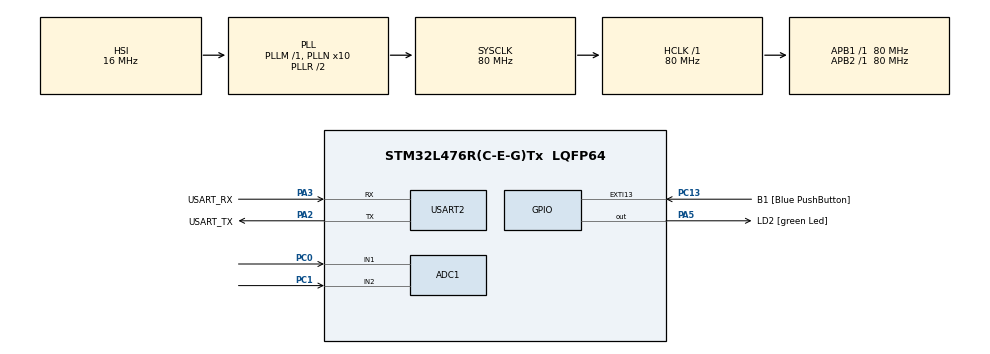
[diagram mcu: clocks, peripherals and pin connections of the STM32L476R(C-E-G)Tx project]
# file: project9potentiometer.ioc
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ADC1.Channel-0\#ChannelRegularConversion=ADC_CHANNEL_1
ADC1.Channel-1\#ChannelRegularConversion=ADC_CHANNEL_2
ADC1.ContinuousConvMode=DISABLE
ADC1.NbrOfConversion=2
ADC1.NbrOfConversionFlag=1
ADC1.OffsetNumber-0\#ChannelRegularConversion=ADC_OFFSET_NONE
ADC1.OffsetNumber-1\#ChannelRegularConversion=ADC_OFFSET_NONE
ADC1.Overrun=ADC_OVR_DATA_OVERWRITTEN
ADC1.Rank-0\#ChannelRegularConversion=1
ADC1.Rank-1\#ChannelRegularConversion=2
ADC1.SamplingTime-0\#ChannelRegularConversion=ADC_SAMPLETIME_640CYCLES_5
ADC1.SamplingTime-1\#ChannelRegularConversion=ADC_SAMPLETIME_640CYCLES_5
ADC1.master=1
Mcu.Family=STM32L4
Mcu.Name=STM32L476R(C-E-G)Tx
Mcu.Package=LQFP64
NVIC.PriorityGroup=NVIC_PRIORITYGROUP_4
PA13\ (JTMS-SWDIO).GPIO_Label=TMS
PA13\ (JTMS-SWDIO).Mode=Serial_Wire
PA13\ (JTMS-SWDIO).Signal=SYS_JTMS-SWDIO
PA14\ (JTCK-SWCLK).GPIO_Label=TCK
PA14\ (JTCK-SWCLK).Mode=Serial_Wire
PA14\ (JTCK-SWCLK).Signal=SYS_JTCK-SWCLK
PA2.GPIO_Label=USART_TX
PA2.GPIO_Mode=GPIO_MODE_AF_PP
PA2.GPIO_PuPd=GPIO_NOPULL
PA2.GPIO_Speed=GPIO_SPEED_FREQ_VERY_HIGH
PA2.Mode=Asynchronous
PA2.Signal=USART2_TX
PA3.GPIO_Label=USART_RX
PA3.GPIO_Mode=GPIO_MODE_AF_PP
PA3.GPIO_PuPd=GPIO_NOPULL
PA3.GPIO_Speed=GPIO_SPEED_FREQ_VERY_HIGH
PA3.Mode=Asynchronous
PA3.Signal=USART2_RX
PA5.GPIO_Label=LD2 [green Led]
PA5.GPIO_ModeDefaultOutputPP=GPIO_MODE_OUTPUT_PP
PA5.GPIO_PuPd=GPIO_NOPULL
PA5.GPIO_Speed=GPIO_SPEED_FREQ_LOW
PA5.Signal=GPIO_Output
PB3\ (JTDO-TRACESWO).GPIO_Label=SWO
PB3\ (JTDO-TRACESWO).Signal=SYS_JTDO-SWO
PC0.Signal=ADCx_IN1
PC1.Signal=ADCx_IN2
PC13.GPIO_Label=B1 [Blue PushButton]
PC13.GPIO_ModeDefaultEXTI=GPIO_MODE_IT_FALLING
PC13.GPIO_PuPd=GPIO_NOPULL
PC13.Signal=GPXTI13
PC14-OSC32_IN\ (PC14).Mode=LSE-External-Oscillator
PC14-OSC32_IN\ (PC14).Signal=RCC_OSC32_IN
PC15-OSC32_OUT\ (PC15).Mode=LSE-External-Oscillator
PC15-OSC32_OUT\ (PC15).Signal=RCC_OSC32_OUT
PH0-OSC_IN\ (PH0).Signal=RCC_OSC_IN
PH1-OSC_OUT\ (PH1).Signal=RCC_OSC_OUT
ProjectManager.HeapSize=0x200
ProjectManager.StackSize=0x400
ProjectManager.TargetToolchain=STM32CubeIDE
RCC.ADCFreq_Value=32000000
RCC.AHBFreq_Value=80000000
RCC.APB1Freq_Value=80000000
RCC.APB1TimFreq_Value=80000000
RCC.APB2Freq_Value=80000000
RCC.APB2TimFreq_Value=80000000
RCC.CortexFreq_Value=80000000
RCC.HCLKFreq_Value=80000000
RCC.HSE_VALUE=8000000
RCC.HSI_VALUE=16000000
RCC.MSI_VALUE=4000000
RCC.PLLN=10
RCC.PLLSAI1R=RCC_PLLR_DIV4
RCC.PLLSourceVirtual=RCC_PLLSOURCE_HSI
RCC.PREFETCH_ENABLE=1
RCC.SYSCLKFreq_VALUE=80000000
RCC.SYSCLKSource=RCC_SYSCLKSOURCE_PLLCLK
RCC.USBFreq_Value=64000000
RCC.VCOOutputFreq_Value=160000000
SH.ADCx_IN1.0=ADC1_IN1,IN1-Single-Ended
SH.ADCx_IN2.0=ADC1_IN2,IN2-Single-Ended
USART2.VirtualMode-Asynchronous=VM_ASYNC
board=NUCLEO-L476RG

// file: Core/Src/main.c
/* USER CODE BEGIN Header */
/**
  ******************************************************************************
  * @file           : main.c
  * @brief          : Main program body
  ******************************************************************************
  * @attention
  *
  * Copyright (c) 2024 STMicroelectronics.
  * All rights reserved.
  *
  * This software is licensed under terms that can be found in the LICENSE file
  * in the root directory of this software component.
  * If no LICENSE file comes with this software, it is provided AS-IS.
  *
  ******************************************************************************
  */
/* USER CODE END Header */
#include "main.h"

/* USER CODE BEGIN Includes */
#include <stdio.h>
/* USER CODE END Includes */

ADC_HandleTypeDef hadc1;

UART_HandleTypeDef huart2;

void SystemClock_Config(void);
static void MX_GPIO_Init(void);
static void MX_USART2_UART_Init(void);
static void MX_ADC1_Init(void);

/* USER CODE BEGIN 0 */
int __io_putchar(int ch)
{
  if (ch == '\n') {
    __io_putchar('\r');
  }

  HAL_UART_Transmit(&huart2, (uint8_t*)&ch, 1, HAL_MAX_DELAY);

  return 1;
}

/* USER CODE END 0 */

int main(void)
{

  /* MCU Configuration--------------------------------------------------------*/

  /* Reset of all peripherals, Initializes the Flash interface and the Systick. */
  HAL_Init();

  /* Configure the system clock */
  SystemClock_Config();

  /* Initialize all configured peripherals */
  MX_GPIO_Init();
  MX_USART2_UART_Init();
  MX_ADC1_Init();

  /* Infinite loop */
  /* USER CODE BEGIN WHILE */
  HAL_ADCEx_Calibration_Start(&hadc1, ADC_SINGLE_ENDED);

  while (1)
  {
    uint32_t value[2];

    HAL_ADC_Start(&hadc1);
    HAL_ADC_PollForConversion(&hadc1, HAL_MAX_DELAY);
    value[0] = HAL_ADC_GetValue(&hadc1);

    HAL_ADC_PollForConversion(&hadc1, HAL_MAX_DELAY);
    value[1] = HAL_ADC_GetValue(&hadc1);

    printf("value1=%lu, value2=%lu\n", value[0], value[1]);
    HAL_Delay(250);
    /* USER CODE END WHILE */

  }
}

void SystemClock_Config(void)
{
  RCC_OscInitTypeDef RCC_OscInitStruct = {0};
  RCC_ClkInitTypeDef RCC_ClkInitStruct = {0};

  /** Configure the main internal regulator output voltage
  */
  if (HAL_PWREx_ControlVoltageScaling(PWR_REGULATOR_VOLTAGE_SCALE1) != HAL_OK)
  {
    Error_Handler();
  }

  /** Initializes the RCC Oscillators according to the specified parameters
  * in the RCC_OscInitTypeDef structure.
  */
  RCC_OscInitStruct.OscillatorType = RCC_OSCILLATORTYPE_HSI;
  RCC_OscInitStruct.HSIState = RCC_HSI_ON;
  RCC_OscInitStruct.HSICalibrationValue = RCC_HSICALIBRATION_DEFAULT;
  RCC_OscInitStruct.PLL.PLLState = RCC_PLL_ON;
  RCC_OscInitStruct.PLL.PLLSource = RCC_PLLSOURCE_HSI;
  RCC_OscInitStruct.PLL.PLLM = 1;
  RCC_OscInitStruct.PLL.PLLN = 10;
  RCC_OscInitStruct.PLL.PLLP = RCC_PLLP_DIV7;
  RCC_OscInitStruct.PLL.PLLQ = RCC_PLLQ_DIV2;
  RCC_OscInitStruct.PLL.PLLR = RCC_PLLR_DIV2;
  if (HAL_RCC_OscConfig(&RCC_OscInitStruct) != HAL_OK)
  {
    Error_Handler();
  }

  /** Initializes the CPU, AHB and APB buses clocks
  */
  RCC_ClkInitStruct.ClockType = RCC_CLOCKTYPE_HCLK|RCC_CLOCKTYPE_SYSCLK
                              |RCC_CLOCKTYPE_PCLK1|RCC_CLOCKTYPE_PCLK2;
  RCC_ClkInitStruct.SYSCLKSource = RCC_SYSCLKSOURCE_PLLCLK;
  RCC_ClkInitStruct.AHBCLKDivider = RCC_SYSCLK_DIV1;
  RCC_ClkInitStruct.APB1CLKDivider = RCC_HCLK_DIV1;
  RCC_ClkInitStruct.APB2CLKDivider = RCC_HCLK_DIV1;

  if (HAL_RCC_ClockConfig(&RCC_ClkInitStruct, FLASH_LATENCY_4) != HAL_OK)
  {
    Error_Handler();
  }
}

static void MX_ADC1_Init(void)
{

  ADC_MultiModeTypeDef multimode = {0};
  ADC_ChannelConfTypeDef sConfig = {0};

  /** Common config
  */
  hadc1.Instance = ADC1;
  hadc1.Init.ClockPrescaler = ADC_CLOCK_ASYNC_DIV1;
  hadc1.Init.Resolution = ADC_RESOLUTION_12B;
  hadc1.Init.DataAlign = ADC_DATAALIGN_RIGHT;
  hadc1.Init.ScanConvMode = ADC_SCAN_ENABLE;
  hadc1.Init.EOCSelection = ADC_EOC_SINGLE_CONV;
  hadc1.Init.LowPowerAutoWait = DISABLE;
  hadc1.Init.ContinuousConvMode = DISABLE;
  hadc1.Init.NbrOfConversion = 2;
  hadc1.Init.DiscontinuousConvMode = DISABLE;
  hadc1.Init.ExternalTrigConv = ADC_SOFTWARE_START;
  hadc1.Init.ExternalTrigConvEdge = ADC_EXTERNALTRIGCONVEDGE_NONE;
  hadc1.Init.DMAContinuousRequests = DISABLE;
  hadc1.Init.Overrun = ADC_OVR_DATA_OVERWRITTEN;
  hadc1.Init.OversamplingMode = DISABLE;
  if (HAL_ADC_Init(&hadc1) != HAL_OK)
  {
    Error_Handler();
  }

  /** Configure the ADC multi-mode
  */
  multimode.Mode = ADC_MODE_INDEPENDENT;
  if (HAL_ADCEx_MultiModeConfigChannel(&hadc1, &multimode) != HAL_OK)
  {
    Error_Handler();
  }

  /** Configure Regular Channel
  */
  sConfig.Channel = ADC_CHANNEL_1;
  sConfig.Rank = ADC_REGULAR_RANK_1;
  sConfig.SamplingTime = ADC_SAMPLETIME_640CYCLES_5;
  sConfig.SingleDiff = ADC_SINGLE_ENDED;
  sConfig.OffsetNumber = ADC_OFFSET_NONE;
  sConfig.Offset = 0;
  if (HAL_ADC_ConfigChannel(&hadc1, &sConfig) != HAL_OK)
  {
    Error_Handler();
  }

  /** Configure Regular Channel
  */
  sConfig.Channel = ADC_CHANNEL_2;
  sConfig.Rank = ADC_REGULAR_RANK_2;
  if (HAL_ADC_ConfigChannel(&hadc1, &sConfig) != HAL_OK)
  {
    Error_Handler();
  }

}

static void MX_USART2_UART_Init(void)
{

  huart2.Instance = USART2;
  huart2.Init.BaudRate = 115200;
  huart2.Init.WordLength = UART_WORDLENGTH_8B;
  huart2.Init.StopBits = UART_STOPBITS_1;
  huart2.Init.Parity = UART_PARITY_NONE;
  huart2.Init.Mode = UART_MODE_TX_RX;
  huart2.Init.HwFlowCtl = UART_HWCONTROL_NONE;
  huart2.Init.OverSampling = UART_OVERSAMPLING_16;
  huart2.Init.OneBitSampling = UART_ONE_BIT_SAMPLE_DISABLE;
  huart2.AdvancedInit.AdvFeatureInit = UART_ADVFEATURE_NO_INIT;
  if (HAL_UART_Init(&huart2) != HAL_OK)
  {
    Error_Handler();
  }

}

static void MX_GPIO_Init(void)
{
  GPIO_InitTypeDef GPIO_InitStruct = {0};

  /* GPIO Ports Clock Enable */
  __HAL_RCC_GPIOC_CLK_ENABLE();
  __HAL_RCC_GPIOH_CLK_ENABLE();
  __HAL_RCC_GPIOA_CLK_ENABLE();
  __HAL_RCC_GPIOB_CLK_ENABLE();

  /*Configure GPIO pin Output Level */
  HAL_GPIO_WritePin(LD2_GPIO_Port, LD2_Pin, GPIO_PIN_RESET);

  /*Configure GPIO pin : B1_Pin */
  GPIO_InitStruct.Pin = B1_Pin;
  GPIO_InitStruct.Mode = GPIO_MODE_IT_FALLING;
  GPIO_InitStruct.Pull = GPIO_NOPULL;
  HAL_GPIO_Init(B1_GPIO_Port, &GPIO_InitStruct);

  /*Configure GPIO pin : LD2_Pin */
  GPIO_InitStruct.Pin = LD2_Pin;
  GPIO_InitStruct.Mode = GPIO_MODE_OUTPUT_PP;
  GPIO_InitStruct.Pull = GPIO_NOPULL;
  GPIO_InitStruct.Speed = GPIO_SPEED_FREQ_LOW;
  HAL_GPIO_Init(LD2_GPIO_Port, &GPIO_InitStruct);

}

void Error_Handler(void)
{
  __disable_irq();
  while (1)
  {
  }
}
